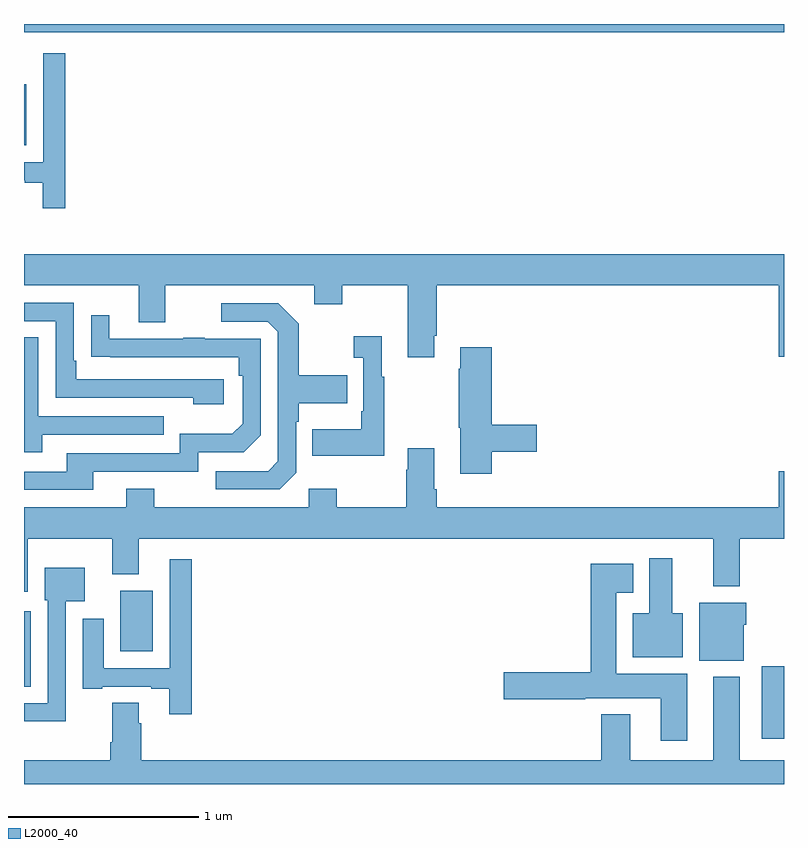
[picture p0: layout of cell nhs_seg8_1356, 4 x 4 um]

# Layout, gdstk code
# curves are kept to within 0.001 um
import gdstk
lib = gdstk.Library(unit=1e-6, precision=1e-09)
def R(c, l, rs):  # rectangles x0, y0, x1, y1
    for r in rs: c.add(gdstk.rectangle(r[:2], r[2:], *l))
def P(c, l, *ps):  # polygons
    for p in ps: c.add(gdstk.Polygon(p, *l))
L2000_40 = (2000, 40)

nhs_seg8_1356 = lib.new_cell('nhs_seg8_1356')
R(nhs_seg8_1356, L2000_40, [(200.882,1090.139,201,1090.519), (197,1090.411,197.035,1090.81), (197.507,1090.598,197.677,1090.918), (197,1093.262,197.011,1093.582), (197,1093.856,201,1093.9)])
P(nhs_seg8_1356, L2000_40, [(197.216,1093.747),(197.1,1093.747),(197.1,1093.173),(197,1093.173),(197,1093.077),(197.003,1093.077),(197.003,1093.065),(197.099,1093.065),(197.099,1092.93),(197.216,1092.93)],
  [(199.159,1092.259),(199.172,1092.259),(199.172,1092.524),(200.972,1092.524),(200.972,1092.15),(201,1092.15),(201,1092.688),(197,1092.688),(197,1092.524),(197.603,1092.524),(197.603,1092.33),(197.743,1092.33),(197.743,1092.524),(198.527,1092.524),(198.527,1092.425),(198.675,1092.425),(198.675,1092.524),(199.019,1092.524),(199.019,1092.147),(199.159,1092.147)],
  [(198.052,1092.03),(197.275,1092.03),(197.275,1092.127),(197.262,1092.127),(197.262,1092.432),(197,1092.432),(197,1092.336),(197.166,1092.336),(197.166,1091.934),(197.891,1091.934),(197.891,1091.9),(198.052,1091.9)],
  [(198.432,1091.538),(198.432,1091.807),(198.445,1091.807),(198.445,1091.903),(198.701,1091.903),(198.701,1092.051),(198.445,1092.051),(198.445,1092.323),(198.339,1092.429),(198.039,1092.429),(198.039,1092.333),(198.282,1092.333),(198.336,1092.279),(198.336,1091.598),(198.285,1091.547),(198.009,1091.547),(198.009,1091.451),(198.345,1091.451)],
  [(197.365,1091.544),(197.916,1091.544),(197.916,1091.646),(198.156,1091.646),(198.246,1091.736),(198.246,1092.243),(197.951,1092.243),(197.951,1092.248),(197.839,1092.248),(197.839,1092.243),(197.449,1092.243),(197.449,1092.367),(197.353,1092.367),(197.353,1092.148),(198.13,1092.147),(198.13,1092.05),(198.15,1092.05),(198.15,1091.796),(198.097,1091.743),(197.82,1091.743),(197.82,1091.64),(197.225,1091.64),(197.225,1091.544),(197.001,1091.544),(197.001,1091.448),(197.365,1091.448)],
  [(198.895,1092.043),(198.883,1092.043),(198.883,1092.256),(198.735,1092.256),(198.735,1092.143),(198.786,1092.143),(198.786,1091.863),(198.774,1091.863),(198.774,1091.767),(198.517,1091.767),(198.517,1091.627),(198.895,1091.627)],
  [(197.095,1091.739),(197.735,1091.739),(197.735,1091.835),(197.076,1091.835),(197.076,1092.251),(197,1092.251),(197,1091.645),(197.095,1091.645)],
  [(199.463,1091.65),(199.699,1091.65),(199.699,1091.792),(199.463,1091.792),(199.463,1092.199),(199.295,1092.199),(199.295,1092.086),(199.288,1092.086),(199.288,1091.775),(199.295,1091.775),(199.295,1091.532),(199.463,1091.532)],
  [(200.627,1090.94),(200.767,1090.94),(200.767,1091.192),(201,1091.192),(201,1091.545),(200.972,1091.545),(200.972,1091.356),(199.172,1091.356),(199.172,1091.452),(199.159,1091.452),(199.159,1091.668),(199.019,1091.668),(199.019,1091.555),(199.012,1091.555),(199.012,1091.356),(198.645,1091.356),(198.645,1091.455),(198.498,1091.455),(198.498,1091.356),(197.685,1091.356),(197.685,1091.455),(197.537,1091.455),(197.537,1091.356),(197,1091.356),(197,1090.911),(197.02,1090.911),(197.02,1091.192),(197.465,1091.192),(197.465,1091.003),(197.605,1091.003),(197.605,1091.192),(200.627,1091.192)],
  [(200.467,1090.798),(200.413,1090.798),(200.413,1091.089),(200.291,1091.089),(200.291,1090.798),(200.204,1090.798),(200.204,1090.568),(200.467,1090.568)],
  [(197.882,1091.083),(197.766,1091.083),(197.766,1090.509),(197.419,1090.509),(197.419,1090.771),(197.309,1090.771),(197.309,1090.401),(197.413,1090.401),(197.413,1090.413),(197.669,1090.413),(197.669,1090.401),(197.765,1090.401),(197.765,1090.266),(197.882,1090.266)],
  [(200.491,1090.48),(200.116,1090.48),(200.116,1090.907),(200.206,1090.907),(200.206,1091.059),(199.982,1091.059),(199.982,1090.487),(199.524,1090.487),(199.524,1090.345),(199.955,1090.345),(199.955,1090.352),(200.351,1090.352),(200.351,1090.128),(200.491,1090.128)],
  [(197.22,1090.862),(197.32,1090.862),(197.32,1091.038),(197.108,1091.038),(197.108,1090.866),(197.124,1090.866),(197.124,1090.326),(197,1090.326),(197,1090.229),(197.22,1090.229)],
  [(200.788,1090.737),(200.8,1090.737),(200.8,1090.855),(200.555,1090.855),(200.555,1090.55),(200.788,1090.55)],
  [(201,1090.024),(200.767,1090.024),(200.767,1090.465),(200.627,1090.465),(200.627,1090.024),(200.191,1090.024),(200.191,1090.267),(200.039,1090.267),(200.039,1090.024),(197.618,1090.024),(197.618,1090.22),(197.605,1090.22),(197.605,1090.328),(197.465,1090.328),(197.465,1090.12),(197.453,1090.12),(197.453,1090.024),(197,1090.024),(197,1089.9),(201,1089.9)])

lib.write_gds('nhs_seg8_1356.gds')
